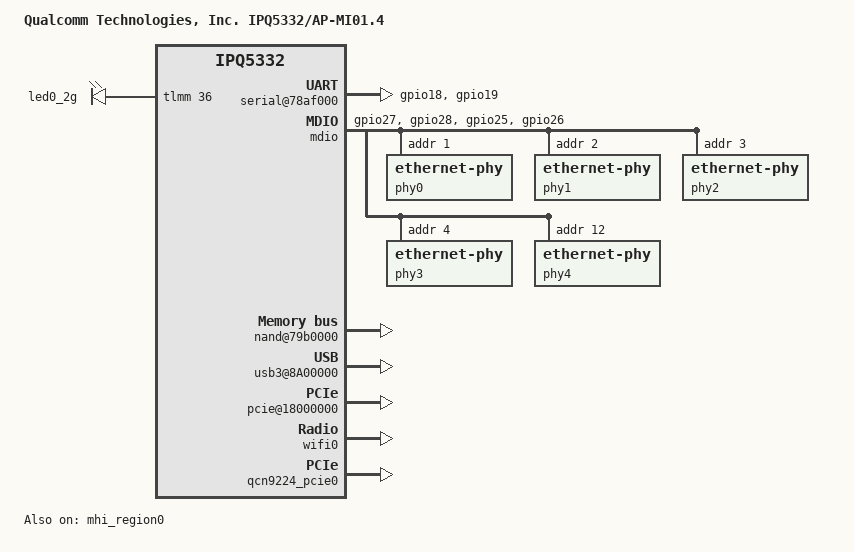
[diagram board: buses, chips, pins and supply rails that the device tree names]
// SPDX-License-Identifier: (GPL-2.0+ OR BSD-3-Clause)
/*
 * IPQ5332 AP-MI01.4 board device tree source
 *
 * Copyright (c) 2020-2021 The Linux Foundation. All rights reserved.
 * Copyright (c) 2022 Qualcomm Innovation Center, Inc. All rights reserved.
 */

/dts-v1/;

#include "ipq5332.dtsi"

#ifdef __IPQ_MEM_PROFILE_512_MB__
#include "ipq5332-512MB-memory.dtsi"
#else
#include "ipq5332-default-memory.dtsi"
#endif

/ {
	#address-cells = <0x2>;
	#size-cells = <0x2>;
	model = "Qualcomm Technologies, Inc. IPQ5332/AP-MI01.4";
	compatible = "qcom,ipq5332-ap-mi01.4", "qcom,ipq5332";
	interrupt-parent = <&intc>;

	aliases {
		serial0 = &blsp1_uart0;
	};

	chosen {
		linux,initrd-end = <0x57000000>;
		linux,initrd-start = <0x55000000>;
		bootargs = "root=/dev/ram0 rw init=/init";
		stdout-path = "serial0";
		bootargs-append = " clk_ignore_unused";
	};

	soc {
		pinctrl@1000000 {
			serial_0_pins: serial0-pinmux {
				pins = "gpio18", "gpio19";
				function = "blsp0_uart0";
				drive-strength = <8>;
				bias-pull-up;
			};

			i2c_1_pins: i2c-1-pinmux {
				pins = "gpio29", "gpio30";
				function = "blsp1_i2c0";
				drive-strength = <8>;
				bias-pull-up;
			};

			leds_pins: leds_pinmux {
				led0_2g {
					pins = "gpio36";
					function = "gpio";
					drive-strength = <8>;
					bias-pull-down;
				};
			};

			mdio0_pins: mdio_pinmux {
				mux_0 {
					pins = "gpio25";
					function = "mdc0";
					drive-strength = <8>;
					bias-disable;
				};
				mux_1 {
					pins = "gpio26";
					function = "mdio0";
					drive-strength = <8>;
					bias-pull-up;
				};
			};

			mdio1_pins: mdio_pinmux {
				mux_0 {
					pins = "gpio27";
					function = "mdc1";
					drive-strength = <2>;
					bias-pull-up;
				};
				mux_1 {
					pins = "gpio28";
					function = "mdio1";
					drive-strength = <2>;
					bias-pull-up;
				};
			};

		};

		serial@78af000 {
			pinctrl-0 = <&serial_0_pins>;
			pinctrl-names = "default";
			status = "ok";
		};

		i2c@78b6000 {
			pinctrl-0 = <&i2c_1_pins>;
			pinctrl-names = "default";
		};

		mdio:mdio@90000 {
			status = "ok";
			pinctrl-0 = <&mdio1_pins &mdio0_pins>;
			pinctrl-names = "default";
			/*gpio51 for manhattan reset, gpio22 for napa*/
			phy-reset-gpio = <&tlmm 51 0 &tlmm 22 0>;
			phyaddr_fixup = <0xC90F018>;
			uniphyaddr_fixup = <0xC90F014>;
			mdio_clk_fixup; /* MDIO clock sequence fix up flag */

			phy0: ethernet-phy@0 {
				reg = <1>;
				fixup;
			};
			phy1: ethernet-phy@1 {
				reg = <2>;
				fixup;
			};
			phy2: ethernet-phy@2 {
				reg = <3>;
				fixup;
			};
			phy3: ethernet-phy@3 {
				reg = <4>;
				fixup;
			};
			phy4: ethernet-phy@4 {
				reg = <12>;
			};
		};

		ess-instance {
			num_devices = <0x2>;
			ess-switch@3a000000 {
				switch_cpu_bmp = <0x1>;  /* cpu port bitmap */
				switch_lan_bmp = <0x2>; /* lan port bitmap */
				switch_wan_bmp = <0x4>; /* wan port bitmap */
				switch_mac_mode = <0xc>; /* mac mode for uniphy instance0*/
				switch_mac_mode1 = <0xf>; /* mac mode for uniphy instance1*/
				qcom,port_phyinfo {
					port@0 {
						port_id = <1>;
						forced-speed = <2500>;
						forced-duplex = <1>;
					};
					port@1 {
						port_id = <2>;
						phy_address = <12>;
					};
				};
			};

			ess-switch1@0xc000000 {
				compatible = "qcom,ess-switch-qca8386";
				device_id = <1>;
				switch_access_mode = "mdio";
				mdio-bus = <&mdio>;
				switch_mac_mode = <0xc>; /* mac mode for uniphy instance0 */
				switch_mac_mode1 = <0xff>; /* mac mode1 for uniphy instance1 */
				switch_cpu_bmp = <0x1>;  /* cpu port bitmap */
				switch_lan_bmp = <0x1e>; /* lan port bitmap */
				switch_wan_bmp = <0x0>;  /* wan port bitmap */
				//link-polling-required = <0>;
				//link-intr-gpio = <&tlmm 23 0>;
				qcom,port_phyinfo {
					port@0 {
						port_id = <0>;
						forced-speed = <2500>;
						forced-duplex = <1>;
					};
					port@1 {
						port_id = <1>;
						phy_address = <1>;
					};
					port@2 {
						port_id = <2>;
						phy_address = <2>;
					};
					port@3 {
						port_id = <3>;
						phy_address = <3>;
					};
					port@4 {
						port_id = <4>;
						phy_address = <4>;
					};
				};
			};
		};

		dma@7984000 {
			status = "ok";
		};

		nand@79b0000 {
			pinctrl-0 = <&qspi_nand_pins>;
			pinctrl-names = "default";
			status = "ok";
		};

		usb3@8A00000 {
			status = "ok";
			qcom,multiplexed-phy;
			qcom,phy-mux-regs = <&tcsr_q6_block 0x2540>;
		};

		ssuniphy@4b0000 {
			status = "ok";
		};

		hs_m31phy@7b000 {
			status = "ok";
		};

		leds {
			compatible = "gpio-leds";
			pinctrl-0 = <&leds_pins>;
			pinctrl-names = "default";
			led@36 {
				label = "led0_2g";
				gpios = <&tlmm 36 GPIO_ACTIVE_HIGH>;
				linux,default-trigger = "led_2g";
				default-state = "off";
			};
		};

		phy_x2@4b1000 {
			status = "ok";
		};

		pcie@18000000 {
			perst-gpio = <&tlmm 47 GPIO_ACTIVE_LOW>;
			status = "ok";
			pcie1_rp {
				reg = <0 0 0 0 0>;

				qcom,mhi@1 {
					reg = <0 0 0 0 0>;
					qrtr_node_id = <0x31>;
					memory-region = <0>, <&mhi_region0>;
				};
			};
		};
	};
};

&wifi0 {
	qcom,rproc = <&q6_wcss_pd1>;
	qcom,multipd_arch;
	qcom,userpd-subsys-name = "q6v5_wcss_userpd1";
	mem-region = <&q6_region>;
	status = "ok";
};

&qcn9224_pcie0 {
	status = "ok";
};

&mhi_region0 {
	status = "ok";
};
